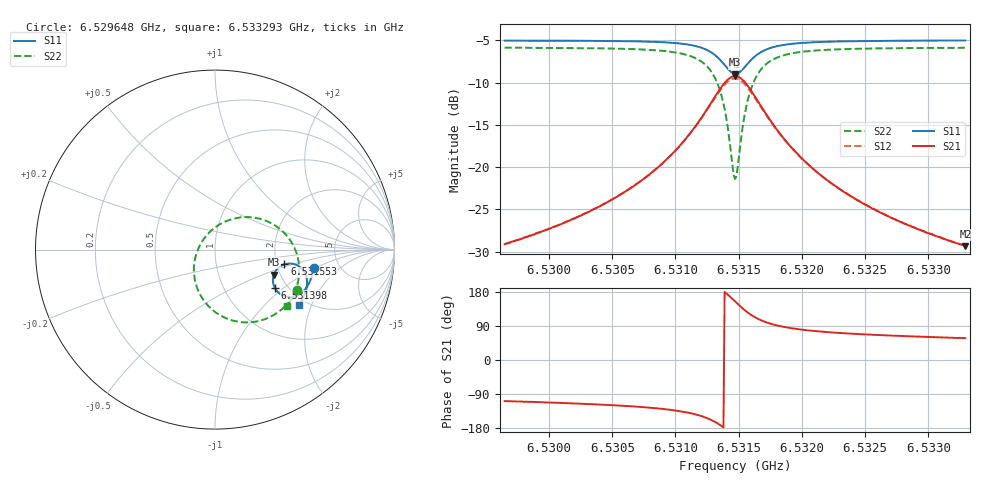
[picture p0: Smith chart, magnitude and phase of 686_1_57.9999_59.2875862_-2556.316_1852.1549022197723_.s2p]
#  HZ  S  RI  R  50.00
! Rohde & Schwarz Vector Network Analyzer
! Rohde-Schwarz,ZNB20-2Port,1311601062101988,3.16
! Created: UTC 3/21/2024, 1:21:03 AM
! freq[Hz]  re:S11  im:S11  re:S21  im:S21  re:S12  im:S12  re:S22  im:S22
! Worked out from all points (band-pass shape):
!   401 points, 6.529648 GHz to 6.533293 GHz, reference 50 ohm
!   highest |S21| = -9.23 dB at 6.531471 GHz (marker M1); lowest = -29.4 dB at 6.533293 GHz (marker M2)
!   |S21| within 3 dB of the highest: 6.531288 GHz to 6.531653 GHz (364.9 kHz wide, 0.00559 % of centre)
!   lowest |S11| = -9.0 dB at 6.531471 GHz (marker M3), VSWR 2.11, Z = 92.7 - j29.5 ohm
!   |S11| at or under -10 dB: nowhere
!   |S22| runs from -21.4 to -5.9 dB; largest |S21 - S12| = 0.015
!   S11 on the Smith chart (normalised r, x): 6.529648 GHz: 3.23, -0.98; 6.531398 GHz: 1.72, -0.87; 6.531553 GHz: 2.20, -0.43; 6.533293 GHz: 1.83, -1.64
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6.5296484e9  0.5506 -0.1039  -0.011 -0.0332  -0.0118 -0.033  0.4573 -0.2237
6.5302588e9  0.5369 -0.1559  -0.0223 -0.0468  -0.0235 -0.0466  0.4203 -0.2816
6.530596e9  0.5233 -0.1884  -0.0366 -0.0609  -0.0384 -0.0599  0.3831 -0.3228
6.5308693e9  0.5038 -0.2197  -0.062 -0.0794  -0.0646 -0.0774  0.3259 -0.3652
6.5310788e9  0.4729 -0.2481  -0.1082 -0.0986  -0.1112 -0.0946  0.2342 -0.3999
6.5312428e9  0.4193 -0.2645  -0.1917 -0.0999  -0.1936 -0.0914  0.0829 -0.3904
6.5313339e9  0.3682 -0.2509  -0.27 -0.0597  -0.2671 -0.0479  -0.0438 -0.3067
6.5313704e9  0.3462 -0.2327  -0.302 -0.0221  -0.2955 -0.0103  -0.0895 -0.2371
6.5313977e9  0.3326 -0.2123  -0.3204 0.0166  -0.3109 0.0274  -0.112 -0.1691
6.5314524e9  0.3234 -0.1581  -0.3244 0.1139  -0.3106 0.1192  -0.0989 -0.00909
6.5314706e9  0.3281 -0.1391  -0.3127 0.147  -0.2988 0.1497  -0.0738 0.0424
6.5314888e9  0.3366 -0.1215  -0.295 0.1772  -0.2814 0.1774  -0.039 0.0879
6.5315526e9  0.3862 -0.0823  -0.203 0.2415  -0.1945 0.2368  0.1225 0.1763
6.531589e9  0.4168 -0.0775  -0.1494 0.2489  -0.1438 0.2438  0.2125 0.179
6.5316255e9  0.4428 -0.0814  -0.1047 0.2421  -0.101 0.2378  0.2864 0.1595
6.5316802e9  0.4713 -0.0955  -0.0563 0.2201  -0.0542 0.2171  0.3645 0.1123
6.5317348e9  0.4894 -0.1126  -0.0257 0.1948  -0.0243 0.1928  0.4121 0.0619
6.5318624e9  0.5083 -0.1484  0.00781 0.1456  0.00902 0.1448  0.4591 -0.0356
6.532081e9  0.513 -0.1912  0.0221 0.0962  0.0234 0.0959  0.4688 -0.136
6.5323452e9  0.5069 -0.2261  0.0236 0.0661  0.0247 0.0659  0.4563 -0.2029
6.5326915e9  0.4949 -0.26  0.0218 0.0458  0.0225 0.0456  0.4356 -0.2554
6.5332928e9  0.4705 -0.3067  0.0182 0.0287  0.0189 0.0285  0.4004 -0.3129
